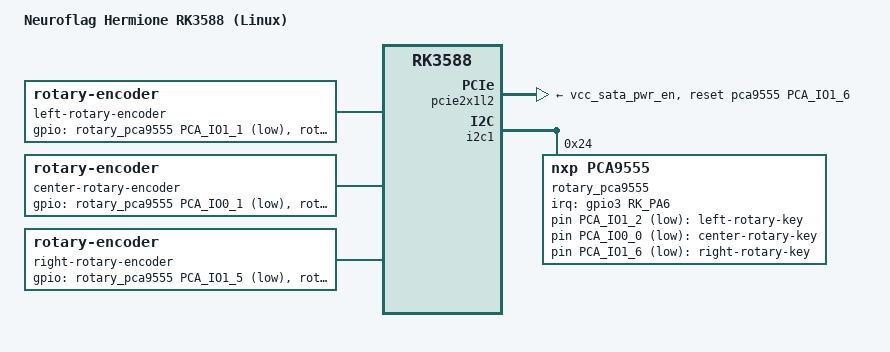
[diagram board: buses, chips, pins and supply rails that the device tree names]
// Fork from rk3588-firefly-aio-3588q-edp_NV156FHM-T06.dts

/dts-v1/;

#include "rk3588-firefly-aio-3588q.dtsi"
#include "rk3588-firefly-aio-cam-8ms1m.dtsi"
#include "rk3588-firefly-aio-cam-imx415.dtsi"
#include "rk3588-firefly-aio-cam-2ms2mf.dtsi"
#include "rk3588-firefly-demo.dtsi"
#include "rk3588-firefly-aio-3588q-edp_NV156FHM-T06.dtsi"

/ {
	model = "Neuroflag Hermione RK3588 (Linux)";
	compatible = "rockchip,rk3588-neuroflag-hermione", "rockchip,rk3588";

	rotary-board-keys {
		compatible = "gpio-keys";
		// Should define pins together with driver
		// PCA9555 doesn't need pinctrl
		// pinctrl-names = "default";
		// pinctrl-0 = <&rotary_key_pins>;
		status = "ok";

		left-rotary-key {
			label = "left-rotary-key";
			linux,code = <KEY_PROG1>;
			gpios = <&rotary_pca9555 PCA_IO1_2 GPIO_ACTIVE_LOW>;
			interrupt-parent = <&rotary_pca9555>;
			interrupts = <PCA_IO1_2 IRQ_TYPE_EDGE_BOTH>;
			wakeup-source;
			status = "ok";
		};

		center-rotary-key {
			label = "center-rotary-key";
			linux,code = <KEY_PROG2>;
			gpios = <&rotary_pca9555 PCA_IO0_0 GPIO_ACTIVE_LOW>;
			interrupt-parent = <&rotary_pca9555>;
			interrupts = <PCA_IO0_0 IRQ_TYPE_EDGE_BOTH>;
			wakeup-source;
			status = "ok";
		};

		right-rotary-key {
			label = "right-rotary-key";
			linux,code = <KEY_PROG3>;
			gpios = <&rotary_pca9555 PCA_IO1_6 GPIO_ACTIVE_LOW>;
			interrupt-parent = <&rotary_pca9555>;
			interrupts = <PCA_IO1_6 IRQ_TYPE_EDGE_BOTH>;
			wakeup-source;
			status = "ok";
		};
	};

	left-rotary-encoder {
		compatible = "rotary-encoder";
		gpios = <&rotary_pca9555 PCA_IO1_1 GPIO_ACTIVE_LOW>, <&rotary_pca9555 PCA_IO1_0 GPIO_ACTIVE_LOW>;
		linux,axis = <0>;
		rotary-encoder,encoding = "gray";
		rotary-encoder,relative-axis;
		rotary-encoder,steps-per-period = <2>;
		// PCA9555 doesn't need pinctrl
		// pinctrl-names = "default";
		// pinctrl-0 = <&left_rotary_encoder_pins>;
		interrupt-parent = <&rotary_pca9555>;
		status = "ok";
	};

	center-rotary-encoder {
		compatible = "rotary-encoder";
		gpios = <&rotary_pca9555 PCA_IO0_1 GPIO_ACTIVE_LOW>, <&rotary_pca9555 PCA_IO0_2 GPIO_ACTIVE_LOW>;
		linux,axis = <0>;
		rotary-encoder,encoding = "gray";
		rotary-encoder,relative-axis;
		rotary-encoder,steps-per-period = <2>;
		// PCA9555 doesn't need pinctrl
		// pinctrl-names = "default";
		// pinctrl-0 = <&center_rotary_encoder_pins>;
		interrupt-parent = <&rotary_pca9555>;
		status = "ok";
	};

	right-rotary-encoder {
		compatible = "rotary-encoder";
		gpios = <&rotary_pca9555 PCA_IO1_5 GPIO_ACTIVE_LOW>, <&rotary_pca9555 PCA_IO1_4 GPIO_ACTIVE_LOW>;
		linux,axis = <0>;
		rotary-encoder,encoding = "gray";
		rotary-encoder,relative-axis;
		rotary-encoder,steps-per-period = <2>;
		// PCA9555 doesn't need pinctrl
		// pinctrl-names = "default";
		// pinctrl-0 = <&right_rotary_encoder_pins>;
		interrupt-parent = <&rotary_pca9555>;
		status = "ok";
	};
};

// Enable NVMe, Disable SATA
// See rk3588-firefly-aio-3588q.dtsi

&sata0 {
	status = "disabled";
};

&pcie2x1l2 {
	reset-gpios = <&pca9555 PCA_IO1_6 GPIO_ACTIVE_HIGH>;
	vpcie3v3-supply = <&vcc_sata_pwr_en>;
	status = "okay";
};

&i2c1 {
	rotary_pca9555: gpio@24 {
		compatible = "nxp,pca9555";
		reg = <0x24>;
		gpio-controller;
		#gpio-cells = <2>;
		interrupt-parent = <&gpio3>;
		interrupts = <RK_PA6 IRQ_TYPE_EDGE_BOTH>;
		interrupt-controller;
		#interrupt-cells = <2>;
		pinctrl-names = "default";
		pinctrl-0 = <&rotary_pca9555_int_pins>;
		status = "okay";
	};
};

&pinctrl {
	rotary-board {
		/omit-if-no-ref/
		rotary_pca9555_int_pins: rotary-pca9555-int-pins {
			rockchip,pins = <3 RK_PA6 RK_FUNC_GPIO &pcfg_pull_up>;
		};
	};
};
